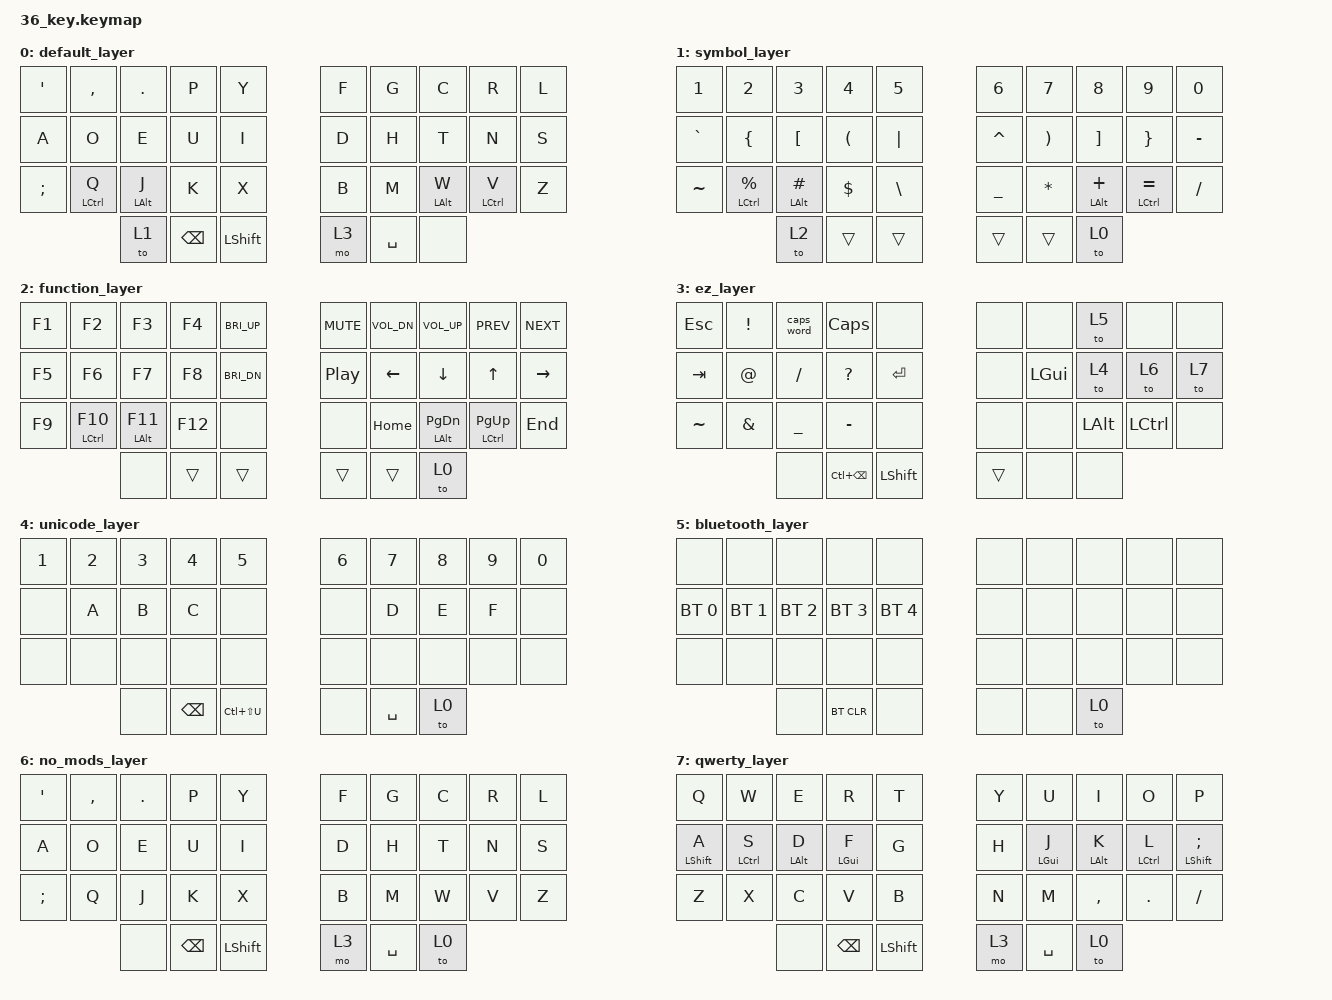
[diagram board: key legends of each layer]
/*
 * Copyright (c) 2020 The ZMK Contributors
 *
 * SPDX-License-Identifier: MIT
 */

#include <behaviors.dtsi>
#include <dt-bindings/zmk/keys.h>
#include <dt-bindings/zmk/bt.h>

&mt {
    flavor = "balanced";
    tapping_term_ms = <160>;
};

/ {
    keymap {
                compatible = "zmk,keymap";

                default_layer {
// -----------------------------------------------------------------------------------------
// |  '  |  ,  |  .  |  P  |  Y  |        |  F  |  G  |  C  |  R  |  L  |
// |  A  |  O  |  E  |  U  |  I  |        |  D  |  H  |  T  |  N  |  S  |
// |  ;  |  Q  |  J  |  K  |  X  |        |  B  |  M  |  W  |  V  |  Z  |
//             |  L1 | BSPC| SHFT|        | L3  | SPC |     |
                        bindings = <
   &kp SQT   &kp COMMA    &kp DOT     &kp P     &kp Y            &kp F  &kp G    &kp C       &kp R        &kp L
   &kp A     &kp O        &kp E       &kp U     &kp I            &kp D  &kp H    &kp T       &kp N        &kp S
   &kp SEMI  &mt LCTRL Q  &mt LALT J  &kp K     &kp X            &kp B  &kp M    &mt LALT W  &mt LCTRL V  &kp Z
                          &to 1       &kp BSPC  &kp LSHFT        &mo 3  &kp SPC  &none
                        >;
                };
                
                symbol_layer {
// -----------------------------------------------------------------------------------------
// |  1  |  2  |  3  |  4  |  5  |        |  6  |  7  |  8  |  9  |  0  |
// |  `  |  {  |  [  |  (  | "|" |        |  ^  |  )  |  ]  |  }  |  -  |
// |  ~  |  %  |  #  |  $  |  \  |        |  _  |  *  |  +  |  =  |  /  |
//             |  L2 | BSPC| SHFT|        | L3  | SPC | L0  |
                        bindings = <
   &kp N1     &kp N2           &kp N3         &kp N4    &kp N5          &kp N6     &kp N7    &kp N8         &kp N9           &kp N0
   &kp GRAVE  &kp LBRC         &kp LBKT       &kp LPAR  &kp PIPE        &kp CARET  &kp RPAR  &kp RBKT       &kp RBRC         &kp MINUS
   &kp TILDE  &mt LCTRL PRCNT  &mt LALT HASH  &kp DLLR  &kp BSLH        &kp UNDER  &kp STAR  &mt LALT PLUS  &mt LCTRL EQUAL  &kp FSLH
                               &to 2          &trans    &trans          &trans     &trans    &to 0
                        >;
                };

                function_layer {
// -----------------------------------------------------------------------------------------
// |  F1 |  F2 |  F3 |  F4 | BR+ |        |MUTE |VOL- |VOL+ |PREV |NEXT |
// |  F5 |  F6 |  F7 |  F8 | BR- |        |PAUSE|LEFT |DOWN | UP  |RIGHT|
// |  F9 | F10 | F11 | F12 |     |        |     |HOME |PGDN |PGUP | END |
//             |     | BSPC| SHFT|        | L3  | SPC | L0  |
                        bindings = <
   &kp F1  &kp F2         &kp F3        &kp F4   &kp C_BRI_UP        &kp C_MUTE  &kp C_VOL_DN  &kp C_VOL_UP    &kp C_PREV       &kp C_NEXT
   &kp F5  &kp F6         &kp F7        &kp F8   &kp C_BRI_DN        &kp C_PP    &kp LEFT      &kp DOWN        &kp UP           &kp RIGHT
   &kp F9  &mt LCTRL F10  &mt LALT F11  &kp F12  &none               &none       &kp HOME      &mt LALT PG_DN  &mt LCTRL PG_UP  &kp END
                          &none         &trans   &trans              &trans      &trans        &to 0
                        >;
                };
                
                ez_layer {
// -----------------------------------------------------------------------------------------
// | ESC |  !  |CAPSW|CAPSL|     |        |     |     | L5  |     |     |
// | TAB |  @  |  /  |  ?  | ENTR|        |     | GUI | L4  | L6  | L7  |
// |  ~  |  &  |  _  |  -  |     |        |     |     | ALT |CTRL |     |
//             |     |BSPC+| SHFT|        |     |     |     |
                        bindings = <
   &kp ESC    &kp EXCL  &caps_word  &kp CAPS      &none            &none   &none     &to 5     &none      &none
   &kp TAB    &kp AT    &kp FSLH    &kp QMARK     &kp RET          &none   &kp LGUI  &to 4     &to 6      &to 7
   &kp TILDE  &kp AMPS  &kp UNDER   &kp MINUS     &none            &none   &none     &kp LALT  &kp LCTRL  &none
                        &none       &kp LC(BSPC)  &kp LSHFT        &trans  &none     &none
                        >;
                };
                
                unicode_layer {
// -----------------------------------------------------------------------------------------
// |  1  |  2  |  3  |  4  |  5  |        |  6  |  7  |  8  |  9  |  0  |
// |     |  A  |  B  |  C  |     |        |     |  D  |  E  |  F  |     |
// |     |     |     |     |     |        |     |     |     |     |     |
//             |     | BSPC|  U_ |        |     | SPC | L0  |
                        bindings = <
   &kp N1  &kp N2  &kp N3  &kp N4         &kp N5               &kp N6  &kp N7     &kp N8  &kp N9  &kp N0
   &none   &kp A   &kp B   &kp C          &none                &none   &kp D      &kp E   &kp F   &none
   &none   &none   &none   &none          &none                &none   &none      &none   &none   &none
                   &none   &kp BSPC       &kp LC(LS(U))        &none   &kp SPACE  &to 0
                        >;
                };
                
                bluetooth_layer {
// -----------------------------------------------------------------------------------------
// |     |     |     |     |     |        |     |     |     |     |     |
// | BT1 | BT2 | BT3 | BT4 | BT5 |        |     |     |     |     |     |
// |     |     |     |     |     |        |     |     |     |     |     |
//             |     |BTCLR|     |        |     |     | L0  |
                        bindings = <
   &none         &none         &none         &none          &none               &none  &none  &none  &none  &none
   &bt BT_SEL 0  &bt BT_SEL 1  &bt BT_SEL 2  &bt BT_SEL 3   &bt BT_SEL 4        &none  &none  &none  &none  &none
   &none         &none         &none         &none          &none               &none  &none  &none  &none  &none
                    	       &none         &bt BT_CLR     &none               &none  &none  &to 0
                        >;
                };
                
                no_mods_layer {
// -----------------------------------------------------------------------------------------
// |  '  |  ,  |  .  |  P  |  Y  |        |  F  |  G  |  C  |  R  |  L  |
// |  A  |  O  |  E  |  U  |  I  |        |  D  |  H  |  T  |  N  |  S  |
// |  ;  |  Q  |  J  |  K  |  X  |        |  B  |  M  |  W  |  V  |  Z  |
//             |     | BSPC| SHFT|        | L3  | SPC | L0  |
                        bindings = <
   &kp SQT   &kp COMMA  &kp DOT  &kp P     &kp Y             &kp F  &kp G    &kp C  &kp R  &kp L
   &kp A     &kp O      &kp E    &kp U     &kp I             &kp D  &kp H    &kp T  &kp N  &kp S
   &kp SEMI  &kp Q      &kp J    &kp K     &kp X             &kp B  &kp M    &kp W  &kp V  &kp Z
                        &none    &kp BSPC  &kp LSHFT         &mo 3  &kp SPC  &to 0
                        >;
                };
                
                qwerty_layer {
// -----------------------------------------------------------------------------------------
// |  Q  |  W  |  E  |  R  |  T  |        |  Y  |  U  |  I  |  O  |  P  |
// |  A  |  S  |  D  |  F  |  G  |        |  H  |  J  |  K  |  L  |  ;  |
// |  Z  |  X  |  C  |  V  |  B  |        |  N  |  M  |  ,  |  .  |  /  |
//             |     | BSPC| SHFT|        | L3  | SPC | L0  |
                        bindings = <
   &kp Q        &kp W        &kp E       &kp R       &kp T            &kp Y  &kp U       &kp I       &kp O        &kp P
   &mt LSHFT A  &mt LCTRL S  &mt LALT D  &mt LGUI F  &kp G            &kp H  &mt LGUI J  &mt LALT K  &mt LCTRL L  &mt LSHFT SEMI
   &kp Z        &kp X        &kp C       &kp V       &kp B            &kp N  &kp M       &kp COMMA   &kp DOT      &kp FSLH
                             &none       &kp BSPC    &kp LSHFT        &mo 3  &kp SPC     &to 0
                        >;
                };
        };
};
